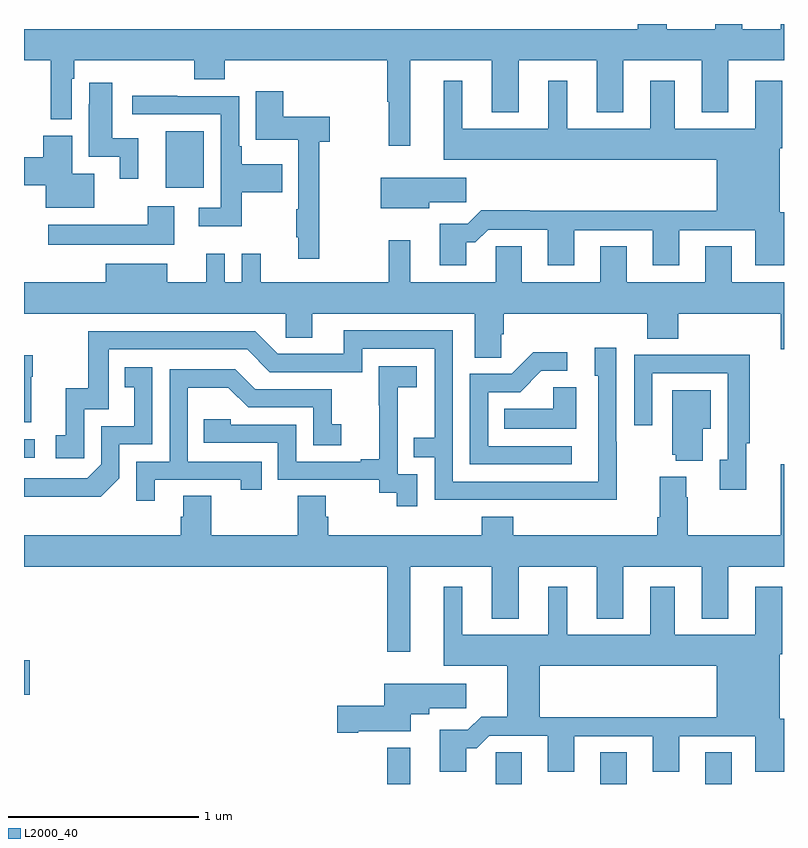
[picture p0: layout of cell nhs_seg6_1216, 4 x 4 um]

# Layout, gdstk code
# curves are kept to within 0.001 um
import gdstk
lib = gdstk.Library(unit=1e-6, precision=1e-09)
def R(c, l, rs):  # rectangles x0, y0, x1, y1
    for r in rs: c.add(gdstk.rectangle(r[:2], r[2:], *l))
def P(c, l, *ps):  # polygons
    for p in ps: c.add(gdstk.Polygon(p, *l))
L2000_40 = (2000, 40)

nhs_seg6_1216 = lib.new_cell('nhs_seg6_1216')
R(nhs_seg6_1216, L2000_40, [(186.912,971.5,187.033,971.692), (187.482,971.5,187.621,971.666), (188.033,971.5,188.173,971.666), (188.585,971.5,188.725,971.666), (185,971.969,185.029,972.152), (185,973.218,185.056,973.314), (185.747,974.639,185.947,974.935)])
P(nhs_seg6_1216, L2000_40, [(187.033,975.308),(187.463,975.308),(187.463,975.035),(187.603,975.035),(187.603,975.308),(188.015,975.308),(188.015,975.035),(188.155,975.035),(188.155,975.308),(188.567,975.308),(188.567,975.035),(188.707,975.035),(188.707,975.308),(189,975.308),(189,975.5),(188.984,975.5),(188.984,975.472),(188.779,975.472),(188.779,975.5),(188.639,975.5),(188.639,975.472),(188.383,975.472),(188.383,975.5),(188.231,975.5),(188.231,975.472),(185,975.472),(185,975.308),(185.142,975.308),(185.142,975),(185.25,975),(185.25,975.212),(185.265,975.212),(185.265,975.308),(185.896,975.308),(185.896,975.209),(186.056,975.209),(186.056,975.308),(186.912,975.308),(186.912,975.092),(186.919,975.092),(186.919,974.859),(187.033,974.859)],
  [(187.327,974.351),(187.376,974.351),(187.443,974.418),(187.757,974.418),(187.757,974.229),(187.897,974.229),(187.897,974.415),(188.309,974.415),(188.309,974.229),(188.449,974.229),(188.449,974.415),(188.849,974.415),(188.849,974.229),(189,974.229),(189,974.508),(188.977,974.508),(188.977,974.846),(188.99,974.846),(188.99,975.202),(188.849,975.202),(188.849,974.95),(188.425,974.95),(188.425,975.202),(188.297,975.202),(188.297,974.95),(187.858,974.95),(187.858,975.202),(187.76,975.202),(187.76,974.95),(187.306,974.95),(187.306,975.202),(187.208,975.202),(187.208,974.786),(188.645,974.786),(188.645,974.516),(187.661,974.516),(187.661,974.519),(187.406,974.519),(187.336,974.449),(187.187,974.449),(187.187,974.229),(187.327,974.229)],
  [(185.602,974.898),(185.464,974.898),(185.464,975.19),(185.343,975.19),(185.343,975.077),(185.342,975.077),(185.342,974.802),(185.504,974.802),(185.504,974.685),(185.602,974.685)],
  [(186.553,974.879),(186.61,974.879),(186.61,975.013),(186.365,975.013),(186.365,975.145),(186.221,975.145),(186.221,974.891),(186.444,974.891),(186.444,974.525),(186.432,974.525),(186.432,974.377),(186.443,974.377),(186.443,974.265),(186.553,974.265)],
  [(186.145,974.614),(186.359,974.614),(186.359,974.761),(186.145,974.761),(186.145,974.857),(186.132,974.857),(186.132,975.12),(185.807,975.12),(185.807,975.122),(185.571,975.122),(185.571,975.024),(186.036,975.024),(186.036,974.532),(185.919,974.532),(185.919,974.435),(186.145,974.435)],
  [(185.371,974.713),(185.254,974.713),(185.254,974.911),(185.102,974.911),(185.102,974.798),(185,974.798),(185,974.651),(185.114,974.651),(185.114,974.534),(185.371,974.534)],
  [(187.132,974.563),(187.327,974.563),(187.327,974.692),(186.878,974.692),(186.878,974.531),(187.132,974.531)],
  [(185.791,974.542),(185.651,974.542),(185.651,974.443),(185.127,974.443),(185.127,974.339),(185.791,974.339)],
  [(188.279,973.843),(188.444,973.843),(188.444,973.976),(188.984,973.976),(188.984,973.788),(189,973.788),(189,974.14),(188.725,974.14),(188.725,974.33),(188.585,974.33),(188.585,974.14),(188.173,974.14),(188.173,974.33),(188.033,974.33),(188.033,974.14),(187.621,974.14),(187.621,974.33),(187.482,974.33),(187.482,974.14),(187.033,974.14),(187.033,974.362),(186.919,974.362),(186.919,974.14),(186.245,974.14),(186.245,974.29),(186.147,974.29),(186.147,974.14),(186.057,974.14),(186.057,974.29),(185.96,974.29),(185.96,974.14),(185.755,974.14),(185.755,974.239),(185.429,974.239),(185.429,974.14),(185,974.14),(185,973.976),(186.378,973.976),(186.378,973.849),(186.517,973.849),(186.517,973.976),(187.373,973.976),(187.373,973.744),(187.512,973.744),(187.512,973.867),(187.526,973.867),(187.526,973.976),(188.279,973.976)],
  [(188.121,973.301),(188.118,973.301),(188.118,973.795),(188.003,973.795),(188.003,973.65),(188.022,973.65),(188.022,973.092),(187.257,973.092),(187.257,973.887),(186.683,973.887),(186.683,973.764),(186.336,973.764),(186.216,973.884),(185.337,973.884),(185.337,973.582),(185.219,973.582),(185.219,973.335),(185.166,973.335),(185.166,973.215),(185.316,973.215),(185.316,973.473),(185.445,973.473),(185.445,973.788),(186.174,973.788),(186.294,973.668),(186.78,973.668),(186.78,973.791),(187.161,973.791),(187.161,973.322),(187.051,973.322),(187.051,973.221),(187.161,973.221),(187.161,972.996),(188.121,972.995)],
  [(187.882,973.278),(187.443,973.278),(187.443,973.563),(187.612,973.563),(187.723,973.674),(187.858,973.674),(187.858,973.772),(187.679,973.772),(187.566,973.659),(187.347,973.659),(187.347,973.182),(187.882,973.182)],
  [(188.801,973.294),(188.819,973.294),(188.819,973.76),(188.527,973.76),(188.527,973.758),(188.211,973.758),(188.211,973.389),(188.307,973.389),(188.307,973.662),(188.703,973.662),(188.703,973.206),(188.663,973.206),(188.663,973.05),(188.801,973.05)],
  [(185.038,973.643),(185.046,973.643),(185.046,973.756),(185,973.756),(185,973.403),(185.038,973.403)],
  [(187.071,973.131),(186.966,973.131),(186.966,973.361),(186.968,973.361),(186.968,973.589),(187.066,973.589),(187.066,973.699),(186.868,973.699),(186.868,973.493),(186.869,973.493),(186.869,973.21),(186.773,973.21),(186.773,973.197),(186.432,973.197),(186.432,973.392),(186.087,973.392),(186.087,973.419),(185.947,973.419),(185.947,973.296),(186.336,973.296),(186.336,973.101),(186.87,973.101),(186.87,973.033),(186.963,973.033),(186.963,972.963),(187.071,972.963)],
  [(185.502,973.11),(185.502,973.287),(185.676,973.287),(185.676,973.693),(185.53,973.693),(185.53,973.587),(185.579,973.587),(185.579,973.383),(185.406,973.383),(185.406,973.182),(185.334,973.11),(185,973.11),(185,973.013),(185.404,973.013)],
  [(185.689,973.101),(186.14,973.101),(186.14,973.05),(186.251,973.05),(186.251,973.197),(185.862,973.197),(185.862,973.586),(186.076,973.586),(186.18,973.482),(186.522,973.482),(186.522,973.284),(186.67,973.284),(186.67,973.393),(186.621,973.393),(186.621,973.578),(186.217,973.578),(186.112,973.683),(185.766,973.683),(185.766,973.197),(185.592,973.197),(185.592,972.99),(185.689,972.99)],
  [(187.906,973.589),(187.785,973.589),(187.785,973.474),(187.528,973.474),(187.528,973.37),(187.906,973.37)],
  [(188.572,973.37),(188.614,973.37),(188.614,973.573),(188.411,973.573),(188.411,973.233),(188.429,973.233),(188.429,973.202),(188.572,973.202)],
  [(187.033,972.644),(187.463,972.644),(187.463,972.371),(187.603,972.371),(187.603,972.644),(188.015,972.644),(188.015,972.371),(188.155,972.371),(188.155,972.644),(188.567,972.644),(188.567,972.371),(188.707,972.371),(188.707,972.644),(189,972.644),(189,973.183),(188.984,973.183),(188.984,972.808),(188.493,972.808),(188.493,973.01),(188.485,973.01),(188.485,973.117),(188.345,973.117),(188.345,972.904),(188.333,972.904),(188.333,972.808),(187.574,972.808),(187.574,972.907),(187.409,972.907),(187.409,972.808),(186.602,972.808),(186.602,972.906),(186.589,972.906),(186.589,973.016),(186.442,973.016),(186.442,972.808),(185.985,972.808),(185.985,973.016),(185.837,973.016),(185.837,972.906),(185.825,972.906),(185.825,972.808),(185,972.808),(185,972.644),(186.912,972.644),(186.912,972.195),(187.033,972.195)],
  [(187.187,971.785),(187.187,971.565),(187.327,971.565),(187.327,971.687),(187.382,971.687),(187.449,971.754),(187.757,971.754),(187.757,971.565),(187.897,971.565),(187.897,971.751),(188.309,971.751),(188.309,971.565),(188.449,971.565),(188.449,971.751),(188.849,971.751),(188.849,971.565),(189,971.565),(189,971.844),(188.977,971.844),(188.977,972.182),(188.99,972.182),(188.99,972.538),(188.849,972.538),(188.849,972.286),(188.425,972.286),(188.425,972.538),(188.297,972.538),(188.297,972.286),(187.858,972.286),(187.858,972.538),(187.76,972.538),(187.76,972.286),(187.306,972.286),(187.306,972.538),(187.208,972.538),(187.208,972.122),(187.544,972.122),(187.544,971.855),(187.406,971.855),(187.403,971.852),(187.715,971.852),(187.715,972.122),(188.645,972.122),(188.645,971.852),(187.403,971.852),(187.336,971.785)],
  [(186.76,971.777),(187.036,971.777),(187.036,971.867),(187.132,971.867),(187.132,971.899),(187.327,971.899),(187.327,972.028),(186.896,972.028),(186.896,971.912),(186.648,971.912),(186.648,971.77),(186.76,971.77)])

lib.write_gds('nhs_seg6_1216.gds')
